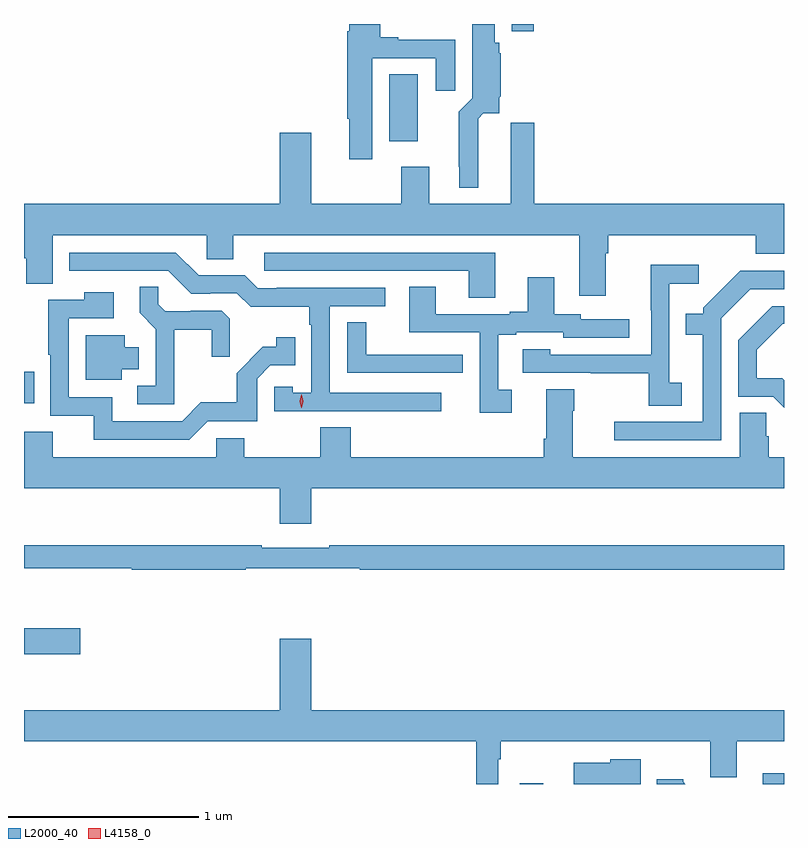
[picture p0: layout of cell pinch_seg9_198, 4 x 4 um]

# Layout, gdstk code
import gdstk
lib = gdstk.Library(unit=1e-6, precision=1e-09)
def R(c, l, rs):  # rectangles x0, y0, x1, y1
    for r in rs: c.add(gdstk.rectangle(r[:2], r[2:], *l))
def P(c, l, *ps):  # polygons
    for p in ps: c.add(gdstk.Polygon(p, *l))
L2000_40 = (2000, 40)
L4158_0 = (4158, 0)

pinch_seg9_198 = lib.new_cell('pinch_seg9_198')
R(pinch_seg9_198, L2000_40, [(549.887,1244.147,550.009,1244.152), (551.165,1244.147,551.277,1244.203), (547.277,1244.83,547.573,1244.967), (547.277,1246.151,547.331,1246.317), (549.2,1247.529,549.349,1247.882), (549.843,1248.108,549.959,1248.147)])
P(pinch_seg9_198, L2000_40, [(549.667,1247.648),(549.694,1247.676),(549.777,1247.676),(549.777,1247.76),(549.785,1247.768),(549.785,1247.994),(549.779,1247.994),(549.779,1248.048),(549.754,1248.048),(549.754,1248.147),(549.635,1248.147),(549.635,1247.756),(549.565,1247.686),(549.565,1247.395),(549.569,1247.395),(549.569,1247.285),(549.667,1247.285)],
  [(549.109,1247.967),(549.443,1247.967),(549.443,1247.796),(549.547,1247.796),(549.547,1248.063),(549.247,1248.063),(549.247,1248.076),(549.151,1248.076),(549.151,1248.147),(548.99,1248.147),(548.99,1248.11),(548.978,1248.11),(548.978,1247.648),(548.99,1247.648),(548.99,1247.436),(549.109,1247.436)],
  [(550.339,1246.94),(550.352,1246.94),(550.352,1247.036),(551.129,1247.036),(551.129,1246.937),(551.277,1246.937),(551.277,1247.2),(549.962,1247.2),(549.962,1247.626),(549.84,1247.626),(549.84,1247.513),(549.839,1247.513),(549.839,1247.2),(549.409,1247.2),(549.409,1247.395),(549.262,1247.395),(549.262,1247.2),(548.788,1247.2),(548.788,1247.575),(548.624,1247.575),(548.624,1247.2),(547.277,1247.2),(547.277,1246.914),(547.289,1246.914),(547.289,1246.78),(547.429,1246.78),(547.429,1247.036),(548.238,1247.036),(548.238,1246.909),(548.377,1246.909),(548.377,1247.036),(550.199,1247.036),(550.199,1246.716),(550.339,1246.716)],
  [(549.757,1246.944),(548.541,1246.944),(548.541,1246.848),(549.617,1246.848),(549.617,1246.705),(549.757,1246.705)],
  [(549.472,1246.206),(548.886,1246.206),(548.886,1246.662),(549.178,1246.662),(549.178,1246.758),(548.608,1246.758),(548.608,1246.755),(548.508,1246.755),(548.439,1246.824),(548.196,1246.824),(548.076,1246.944),(547.514,1246.944),(547.514,1246.848),(548.037,1246.848),(548.157,1246.728),(548.258,1246.728),(548.258,1246.731),(548.397,1246.731),(548.47,1246.658),(548.778,1246.658),(548.778,1246.565),(548.79,1246.565),(548.79,1246.207),(548.691,1246.207),(548.691,1246.239),(548.595,1246.239),(548.595,1246.11),(549.079,1246.11),(549.079,1246.108),(549.472,1246.108)],
  [(550.738,1246.26),(550.674,1246.26),(550.674,1246.781),(550.828,1246.781),(550.828,1246.879),(550.576,1246.879),(550.576,1246.64),(550.578,1246.64),(550.578,1246.407),(550.047,1246.407),(550.047,1246.435),(549.903,1246.435),(549.903,1246.311),(550.261,1246.311),(550.261,1246.309),(550.566,1246.309),(550.566,1246.138),(550.738,1246.138)],
  [(550.947,1246.599),(551.1,1246.752),(551.277,1246.752),(551.277,1246.848),(551.046,1246.848),(550.851,1246.653),(550.851,1246.621),(550.759,1246.621),(550.759,1246.512),(550.85,1246.512),(550.85,1246.053),(550.383,1246.053),(550.383,1245.957),(550.947,1245.957)],
  [(549.844,1246.221),(549.772,1246.221),(549.772,1246.512),(549.868,1246.512),(549.868,1246.524),(550.116,1246.524),(550.116,1246.497),(550.462,1246.497),(550.462,1246.593),(550.206,1246.593),(550.206,1246.62),(550.069,1246.62),(550.069,1246.813),(549.929,1246.813),(549.929,1246.633),(549.833,1246.633),(549.833,1246.62),(549.445,1246.62),(549.445,1246.763),(549.305,1246.763),(549.305,1246.524),(549.675,1246.524),(549.675,1246.101),(549.844,1246.101)],
  [(548.069,1246.538),(548.266,1246.538),(548.266,1246.395),(548.36,1246.395),(548.36,1246.597),(548.319,1246.638),(548.154,1246.638),(548.154,1246.635),(548.02,1246.635),(547.983,1246.672),(547.983,1246.763),(547.885,1246.763),(547.885,1246.627),(547.971,1246.541),(547.971,1246.242),(547.872,1246.242),(547.872,1246.146),(548.069,1246.146)],
  [(548.244,1246.056),(548.505,1246.056),(548.505,1246.281),(548.574,1246.35),(548.705,1246.35),(548.705,1246.498),(548.604,1246.498),(548.604,1246.448),(548.534,1246.448),(548.397,1246.31),(548.397,1246.155),(548.208,1246.155),(548.109,1246.056),(547.741,1246.056),(547.741,1246.182),(547.512,1246.182),(547.512,1246.599),(547.75,1246.599),(547.75,1246.735),(547.594,1246.735),(547.594,1246.695),(547.404,1246.695),(547.404,1246.405),(547.416,1246.405),(547.416,1246.086),(547.643,1246.086),(547.643,1245.96),(548.148,1245.96)],
  [(551.277,1246.272),(551.267,1246.282),(551.134,1246.282),(551.134,1246.432),(551.271,1246.569),(551.277,1246.569),(551.277,1246.662),(551.216,1246.662),(551.037,1246.483),(551.037,1246.185),(551.22,1246.185),(551.277,1246.128)],
  [(549.586,1246.406),(549.473,1246.406),(549.473,1246.407),(549.078,1246.407),(549.078,1246.577),(548.979,1246.577),(548.979,1246.311),(549.586,1246.311)],
  [(547.792,1246.331),(547.882,1246.331),(547.882,1246.447),(547.807,1246.447),(547.807,1246.51),(547.601,1246.51),(547.601,1246.274),(547.792,1246.274)],
  [(548.788,1245.704),(551.277,1245.704),(551.277,1245.868),(551.198,1245.868),(551.198,1245.978),(551.183,1245.978),(551.183,1246.1),(551.045,1246.1),(551.045,1245.868),(550.165,1245.868),(550.165,1246.112),(550.173,1246.112),(550.173,1246.225),(550.025,1246.225),(550.025,1245.964),(550.013,1245.964),(550.013,1245.868),(548.996,1245.868),(548.996,1246.025),(548.836,1246.025),(548.836,1245.868),(548.436,1245.868),(548.436,1245.966),(548.289,1245.966),(548.289,1245.868),(547.429,1245.868),(547.429,1246.001),(547.277,1246.001),(547.277,1245.704),(548.624,1245.704),(548.624,1245.516),(548.788,1245.516)],
  [(548.445,1245.282),(549.045,1245.282),(549.045,1245.274),(551.277,1245.274),(551.277,1245.403),(548.884,1245.403),(548.884,1245.39),(548.528,1245.39),(548.528,1245.403),(547.277,1245.403),(547.277,1245.282),(547.845,1245.282),(547.845,1245.274),(548.445,1245.274)],
  [(549.774,1244.276),(549.787,1244.276),(549.787,1244.372),(550.889,1244.372),(550.889,1244.182),(551.029,1244.182),(551.029,1244.372),(551.277,1244.372),(551.277,1244.536),(548.788,1244.536),(548.788,1244.911),(548.624,1244.911),(548.624,1244.536),(547.277,1244.536),(547.277,1244.372),(549.658,1244.372),(549.658,1244.147),(549.774,1244.147)],
  [(550.522,1244.278),(550.362,1244.278),(550.362,1244.26),(550.17,1244.26),(550.17,1244.147),(550.522,1244.147)],
  [(550.746,1244.158),(550.746,1244.173),(550.607,1244.173),(550.607,1244.147),(550.757,1244.147)])
P(pinch_seg9_198, L4158_0, [(548.737,1246.126),(548.728,1246.161),(548.737,1246.197),(548.738,1246.197),(548.738,1246.197),(548.748,1246.161),(548.738,1246.126),(548.738,1246.126)])

lib.write_gds('pinch_seg9_198.gds')
